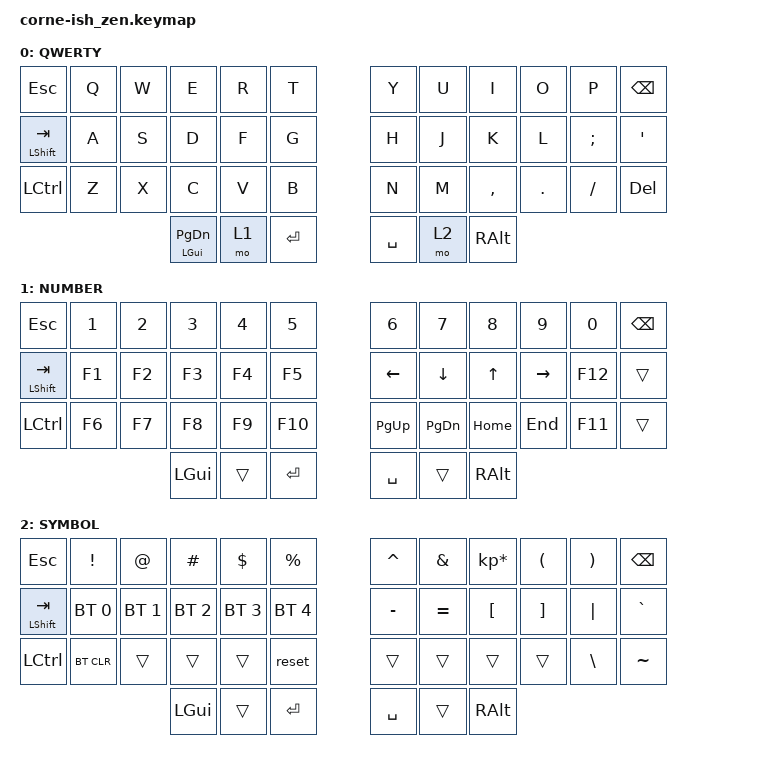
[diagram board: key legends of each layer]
/*
*
* Copyright (c) 2021 Darryl deHaan
* SPDX-License-Identifier: MIT
*
*/

#include <behaviors.dtsi>
#include <dt-bindings/zmk/keys.h>
#include <dt-bindings/zmk/bt.h>
#include <dt-bindings/zmk/matrix_transform.h>

/ {

        keymap {
                compatible = "zmk,keymap";

                default_layer {
                        label = "QWERTY";
// -----------------------------------------------------------------------------------------
// | ESC  |  Q  |  W  |  E  |  R  |  T  |   |  Y  |  U   |  I  |  O  |  P  | BKSP |
// | STB  |  A  |  S  |  D  |  F  |  G  |   |  H  |  J   |  K  |  L  |  ;  |  '   |
// | CTRL |  Z  |  X  |  C  |  V  |  B  |   |  N  |  M   |  ,  |  .  |  /  | DEL  |
//                    | GUI | LWR | ENT |   | SPC | RSE  | ALT |
                        bindings = <
   &kp ESC       &kp Q &kp W &kp E &kp R &kp T   &kp Y &kp U  &kp I     &kp O   &kp P    &kp BSPC
   &mt LSHFT TAB &kp A &kp S &kp D &kp F &kp G   &kp H &kp J  &kp K     &kp L   &kp SEMI &kp SQT
   &kp LCTRL     &kp Z &kp X &kp C &kp V &kp B   &kp N &kp M  &kp COMMA &kp DOT &kp FSLH &kp DEL
                  &mt LGUI PG_DN &mo 1 &kp RET   &kp SPACE &mo 2 &kp RALT
                        >;
                };
                lower_layer {
                        label = "NUMBER";
// -----------------------------------------------------------------------------------------
// | ESC  |  1  |  2  |  3  |  4  |  5  |   |  6  |  7  |  8  |  9  |  0  | BKSP |
// | STB  |  F1 |  F2 |  F3 |  F4 |  F5 |   | LFT | DWN |  UP | RGT | F12 |      |
// | CTRL |  F6 |  F7 |  F8 |  F9 | F10 |   | PGU | PGD | HOM | END | F11 |      |
//                    | GUI |     | ENT |   | SPC |     | ALT |
                        bindings = <
   &kp ESC       &kp N1 &kp N2 &kp N3 &kp N4 &kp N5      &kp N6    &kp N7    &kp N8   &kp N9    &kp N0  &kp BSPC
   &mt LSHFT TAB &kp F1 &kp F2 &kp F3 &kp F4 &kp F5      &kp LEFT  &kp DOWN  &kp UP   &kp RIGHT &kp F12 &trans
   &kp LCTRL     &kp F6 &kp F7 &kp F8 &kp F9 &kp F10     &kp PG_UP &kp PG_DN &kp HOME &kp END   &kp F11 &trans
                    &kp LGUI   &trans        &kp RET     &kp SPACE &trans &kp RALT
                        >;
                };

                raise_layer {
                        label = "SYMBOL";
// -----------------------------------------------------------------------------------------
// | ESC  |  !  |  @  |  #  |  $  |  %  |   |  ^  |  &  |  *  |  (  |  )  | BKSP |
// | STB  | BT0 | BT1 | BT2 | BT3 | BT4 |   |  -  |  =  |  {  |  }  | "|" |  `   |
// | CTRL | BTC |     |     |     | REST|   |  _  |  +  |  [  |  ]  |  \  |  ~   |
//                    | GUI |     | ENT |   | SPC |     | ALT |
                        bindings = <
   &kp ESC       &kp EXCL     &kp AT       &kp HASH     &kp DLLR     &kp PRCNT         &kp CARET &kp AMPS  &kp KP_MULTIPLY &kp LPAR &kp RPAR &kp BSPC
   &mt LSHFT TAB &bt BT_SEL 0 &bt BT_SEL 1 &bt BT_SEL 2 &bt BT_SEL 3 &bt BT_SEL 4      &kp MINUS &kp EQUAL &kp LBKT        &kp RBKT &kp PIPE &kp GRAVE
   &kp LCTRL     &bt BT_CLR   &trans       &trans       &trans       &reset            &trans    &trans    &trans          &trans   &kp BSLH &kp TILDE
                                                      &kp LGUI &trans &kp RET        &kp SPACE &trans &kp RALT
                        >;
                };
        };
};
